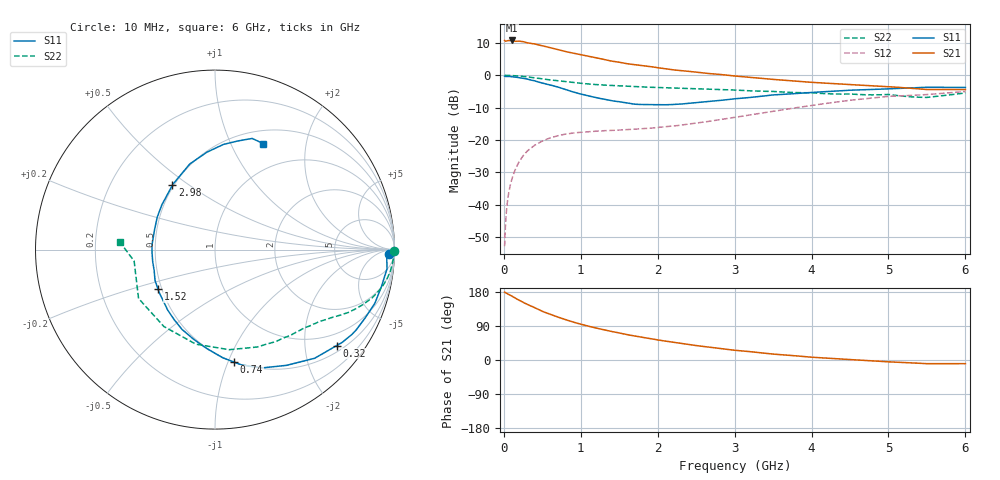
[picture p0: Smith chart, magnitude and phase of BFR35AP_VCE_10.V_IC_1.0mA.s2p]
! Infineon Technologies  Discrete & RF Semiconductors
! BFR35AP
! VCE =  10. V,  IC =  1.0 mA
! Common Emitter S-Parameters:  Nov 2015
# GHz  S  MA  R  50
!  f  S11  S21  S12  S22
! GHz  MAG  ANG  MAG  ANG  MAG  ANG  MAG  ANG
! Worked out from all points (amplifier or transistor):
!   210 points, 10 MHz to 6 GHz, reference 50 ohm
!   highest |S21| = 10.7 dB at 100 MHz (marker M1)
!   |S21| within 3 dB of that: start of sweep to 731.5 MHz
!   unconditionally stable (mu >= 1): 1.478 GHz to 3.434 GHz; 5.42 GHz to 5.686 GHz
!   at 185 MHz: K = 0.16, MSG = 18.9 dB, |S12| = -27.3 dB
!   at 1.52 GHz: K = 1.02, MAG = 9.6 dB, |S12| = -16.9 dB
!   at 6 GHz: K = 0.98, MSG = 0.3 dB, |S12| = -5.0 dB
!   S11 on the Smith chart (normalised r, x): 10 MHz: 41, -28; 320 MHz: 0.65, -2.74; 740 MHz: 0.50, -1.05; 1.52 GHz: 0.48, -0.25; 2.98 GHz: 0.49, +0.43; 6 GHz: 0.66, +1.34
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0.01  0.9676 -1.3  3.446 179.2  0.0023 90.8  0.9999 -0.4
0.025  0.9586 -3.1  3.369 177.1  0.0058 86.4  0.9945 -1.2
0.04  0.9616 -5.1  3.404 175.5  0.0096 86.1  0.9959 -1.9
0.06  0.9606 -7.6  3.43 173.4  0.0145 84.6  0.9956 -2.9
0.1  0.95 -12.5  3.447 169.2  0.0239 81.7  0.9907 -4.8
0.24  0.9055 -29.5  3.323 153.3  0.0548 71.5  0.9628 -11.2
0.32  0.8633 -38.3  3.148 145.4  0.07 66.5  0.9397 -14.3
0.5  0.7585 -58.2  2.858 128.3  0.0964 56.5  0.8796 -20.4
0.6  0.7105 -68.0  2.671 120.6  0.1077 51.9  0.8486 -23.0
0.74  0.6362 -80.3  2.425 110.8  0.1192 47.0  0.8124 -25.8
0.9  0.5534 -94.7  2.205 100.0  0.1287 42.9  0.7723 -28.7
1.02  0.506 -105.1  2.061 93.4  0.132 40.8  0.7475 -30.6
1.2  0.4523 -120.1  1.862 84.1  0.1369 38.9  0.7185 -33.3
1.52  0.3868 -145.1  1.575 70.6  0.1432 38.2  0.6843 -37.7
2.02  0.3514 174.5  1.299 52.3  0.1574 42.5  0.646 -45.3
2.4  0.3693 150.6  1.152 40.7  0.1758 46.7  0.6222 -52.4
2.98  0.4304 123.4  0.98 26.2  0.2212 50.0  0.5923 -66.0
3.1  0.4429 119.1  0.951 23.9  0.2336 49.9  0.5827 -69.4
4.1  0.5519 92.8  0.765 6.2  0.3553 44.1  0.5269 -105.6
5.1  0.6236 77.0  0.655 -5.7  0.4774 28.5  0.4887 -151.8
5.5  0.653 71.5  0.603 -9.7  0.5038 20.7  0.4551 -171.9
6  0.6491 65.5  0.602 -9.6  0.561 15.6  0.5334 175.2
